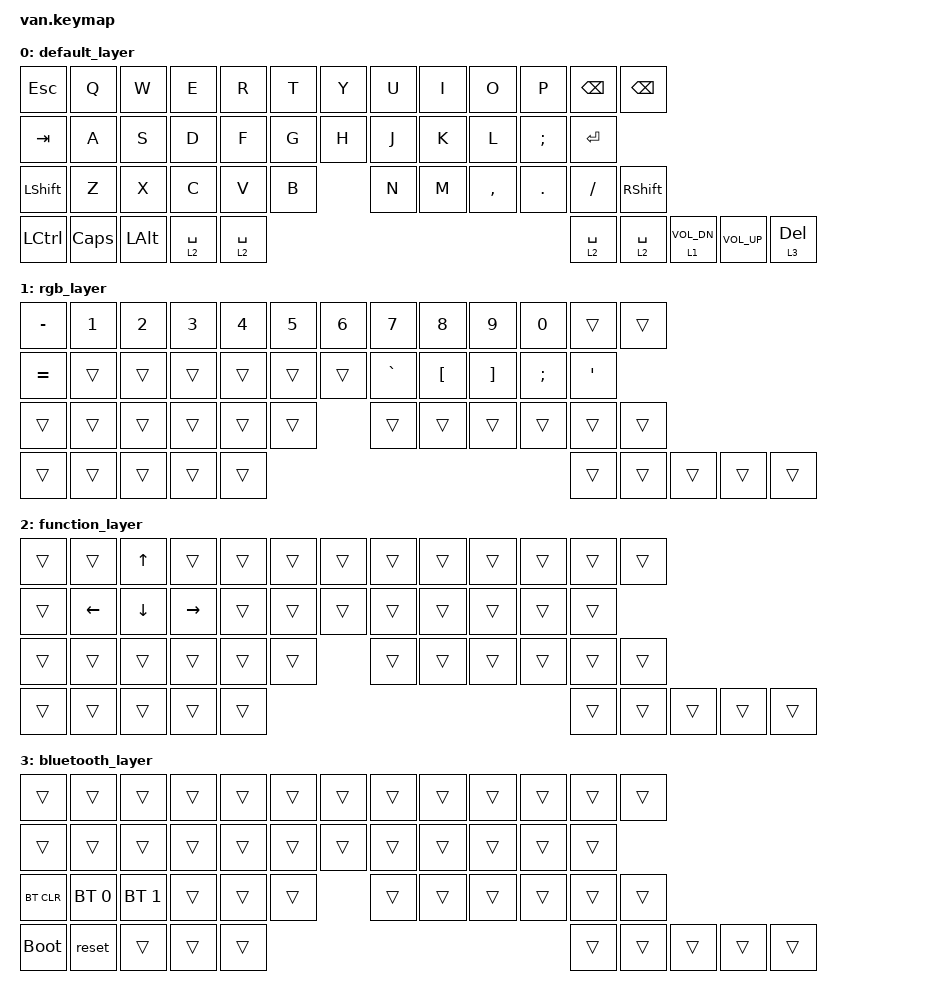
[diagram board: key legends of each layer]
/*
 * Copyright (c) 2021 Nick Winans
 *
 * SPDX-License-Identifier: MIT
 */

#include <behaviors.dtsi>
#include <dt-bindings/zmk/keys.h>
#include <dt-bindings/zmk/rgb.h>
#include <dt-bindings/zmk/bt.h>

/ {
	keymap {
		compatible = "zmk,keymap";

		default_layer {
// ------------------------------------------------------------------------------------------
// | ESC |  1  |  2  |  3  |  4  |  5  |  6  |  7  |  8  |  9  |  0  |  -  |  =  |   BKSP   |
// | TAB  |  Q  |  W  |  E  |  R  |  T  |  Y  |  U  |  I  |  O  |  P  |  [  |  ]  |   "|"   |
// | CAPS  |  A  |  S  |  D  |  F  |  G  |  H  |  J  |  K  |  L  |  ;  |  '  |     ENTER    |
// |  SHIFT  |  Z  |  X  |  C  |  V  |  B  |  N  |  M  |  ,  |  .  |  /  |      SHIFT       |
// |  CTL  |  WIN  |  ALT  |            SPACE              |  ALT  |  WIN  |  MO(1) |  CTL  |
// ------------------------------------------------------------------------------------------
			bindings = <
	&kp ESC  &kp Q  &kp W  &kp E  &kp R  &kp T  &kp Y  &kp U  &kp I  &kp O  &kp P  &kp BSPC &kp BSPC
	&kp TAB  &kp A  &kp S  &kp D  &kp F  &kp G  &kp H  &kp J  &kp K  &kp L  &kp SEMI &kp RET           
	&kp LSHFT   &kp Z  &kp X  &kp C  &kp V  &kp B  &kp N  &kp M  &kp COMMA &kp DOT &kp FSLH &kp RSHIFT
	&kp LCTRL &kp CAPS &kp LALT &lt 2 SPACE &lt 2 SPACE &lt 2 SPACE   &lt 2 SPACE  &lt 1 C_VOL_DN  &kp C_VOL_UP  &lt 3 DEL 
			>;
		};

		rgb_layer {
// ------------------------------------------------------------------------------------------------
// | BT CLR | F1  | F2  | F3  | F4  | F5  | F6  | F7  | F8  | F9  | F10  | F11 | F12 | EFFECT REV |
// |  BT 1   |   |  UP |   | HUEUP | SATUP | BRIUP | SPDUP |   |     |    |     |     |           |
// |   BT 2   | LT |  DN  | RT | HUEDN | SATDN | BRIDN | SPDDN |   |     |   |     |  EFFECT FORW |
// |    BT 3     |     |      |      |     |     |     |     |     |     |     |                  |
// |   BT 4  |      |      |             TOG RGB                | PRT SCR |       |       |  DEL  |
// ------------------------------------------------------------------------------------------------
			bindings = <
	&kp MINUS  &kp N1  &kp N2  &kp N3  &kp N4  &kp N5  &kp N6  &kp N7  &kp N8  &kp N9  &kp N0  &trans &trans
	&kp EQUAL  &trans  &trans  &trans  &trans  &trans  &trans  &kp GRAVE  &kp LBKT  &kp RBKT  &kp SEMI &kp SQT          
	&trans   &trans &trans  &trans &trans  &trans  &trans &trans &trans &trans &trans          &trans
	&trans &trans &trans  &trans &trans &trans          &trans                     &trans  &trans  &trans 
			>;
		};

		function_layer {
// ------------------------------------------------------------------------------------------------
// | BT CLR | F1  | F2  | F3  | F4  | F5  | F6  | F7  | F8  | F9  | F10  | F11 | F12 | EFFECT REV |
// |  BT 1   |   |  UP |   | HUEUP | SATUP | BRIUP | SPDUP |   |     |    |     |     |           |
// |   BT 2   | LT |  DN  | RT | HUEDN | SATDN | BRIDN | SPDDN |   |     |   |     |  EFFECT FORW |
// |    BT 3     |     |      |      |     |     |     |     |     |     |     |                  |
// |   BT 4  |      |      |             TOG RGB                | PRT SCR |       |       |  DEL  |
// ------------------------------------------------------------------------------------------------
			bindings = <
	&trans  &trans  &kp UP  &trans  &trans &trans &trans  &trans &trans  &trans  &trans  &trans &trans
	&trans  &kp LEFT  &kp DOWN  &kp RIGHT  &trans  &trans  &trans  &trans  &trans  &trans &trans &trans          
	&trans   &trans &trans  &trans  &trans  &trans  &trans &trans  &trans &trans &trans          &trans
	&trans &trans &trans    &trans &trans &trans         &trans                     &trans  &trans  &trans 
			>;
		};
		
		bluetooth_layer {
// ------------------------------------------------------------------------------------------------
// | BT CLR | F1  | F2  | F3  | F4  | F5  | F6  | F7  | F8  | F9  | F10  | F11 | F12 | EFFECT REV |
// |  BT 1   |   |  UP |   | HUEUP | SATUP | BRIUP | SPDUP |   |     |    |     |     |           |
// |   BT 2   | LT |  DN  | RT | HUEDN | SATDN | BRIDN | SPDDN |   |     |   |     |  EFFECT FORW |
// |    BT 3     |     |      |      |     |     |     |     |     |     |     |                  |
// |   BT 4  |      |      |             TOG RGB                | PRT SCR |       |       |  DEL  |
// ------------------------------------------------------------------------------------------------
			bindings = <
	&trans &trans  &trans  &trans  &trans &trans &trans  &trans &trans  &trans  &trans  &trans &trans
	&trans  &trans  &trans  &trans  &trans  &trans  &trans  &trans  &trans  &trans  &trans &trans          
	&bt BT_CLR   &bt BT_SEL 0 &bt BT_SEL 1  &trans  &trans  &trans  &trans &trans  &trans &trans &trans          &trans
	&bootloader &reset &trans    &trans &trans &trans         &trans                     &trans  &trans  &trans 
			>;
		};
	};
};
